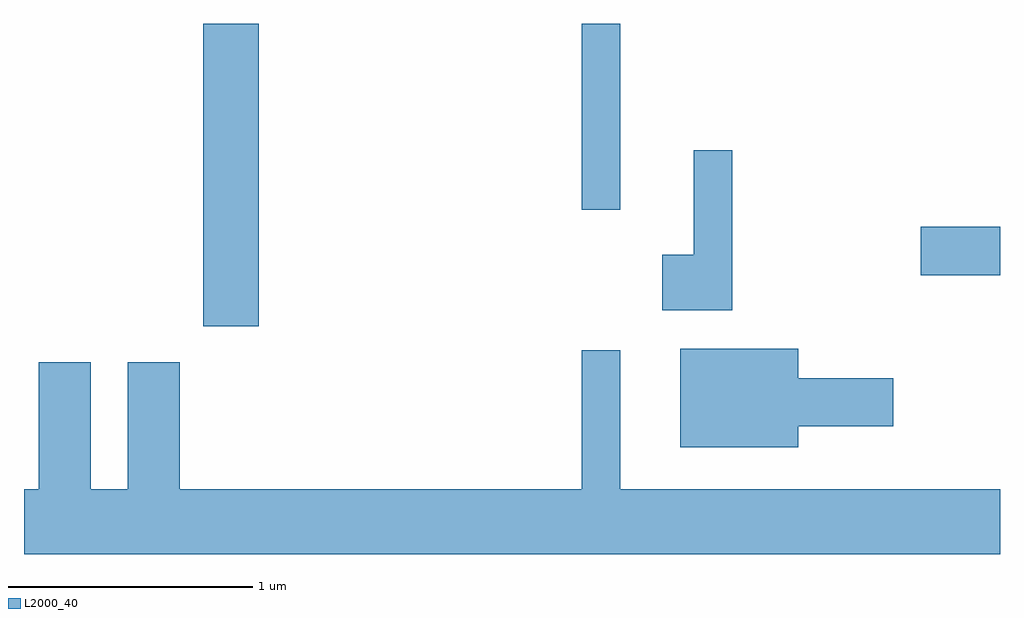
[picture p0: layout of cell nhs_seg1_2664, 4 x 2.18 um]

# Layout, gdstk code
import gdstk
lib = gdstk.Library(unit=1e-6, precision=1e-09)
def R(c, l, rs):  # rectangles x0, y0, x1, y1
    for r in rs: c.add(gdstk.rectangle(r[:2], r[2:], *l))
def P(c, l, *ps):  # polygons
    for p in ps: c.add(gdstk.Polygon(p, *l))
L2000_40 = (2000, 40)

nhs_seg1_2664 = lib.new_cell('nhs_seg1_2664')
R(nhs_seg1_2664, L2000_40, [(266.346,940.471,266.574,941.712), (269.286,940.681,269.611,940.879), (267.896,940.948,268.054,941.712)])
P(nhs_seg1_2664, L2000_40, [(268.514,941.193),(268.356,941.193),(268.356,940.764),(268.226,940.764),(268.226,940.536),(268.514,940.536)],
  [(268.784,940.061),(269.174,940.061),(269.174,940.259),(268.784,940.259),(268.784,940.379),(268.301,940.379),(268.301,939.976),(268.784,939.976)],
  [(269.611,939.804),(268.054,939.804),(268.054,940.373),(267.896,940.373),(267.896,939.804),(266.249,939.804),(266.249,940.324),(266.036,940.324),(266.036,939.804),(265.884,939.804),(265.884,940.324),(265.671,940.324),(265.671,939.804),(265.611,939.804),(265.611,939.536),(269.611,939.536)])

lib.write_gds('nhs_seg1_2664.gds')
